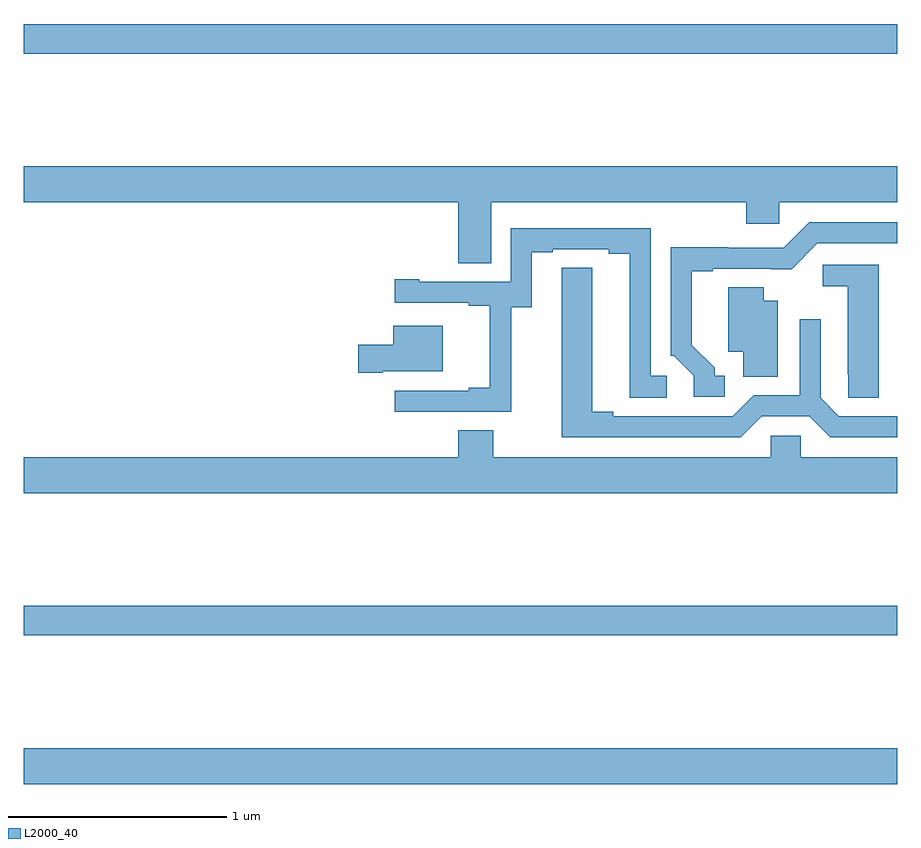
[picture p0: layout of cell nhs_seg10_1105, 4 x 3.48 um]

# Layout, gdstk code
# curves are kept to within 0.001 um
import gdstk
lib = gdstk.Library(unit=1e-6, precision=1e-09)
def R(c, l, rs):  # rectangles x0, y0, x1, y1
    for r in rs: c.add(gdstk.rectangle(r[:2], r[2:], *l))
def P(c, l, *ps):  # polygons
    for p in ps: c.add(gdstk.Polygon(p, *l))
L2000_40 = (2000, 40)

nhs_seg10_1105 = lib.new_cell('nhs_seg10_1105')
R(nhs_seg10_1105, L2000_40, [(167,1310.972,171,1311.136), (167,1311.652,171,1311.788), (167,1314.316,171,1314.452)])
P(nhs_seg10_1105, L2000_40, [(167,1313.636),(168.989,1313.636),(168.989,1313.356),(169.141,1313.356),(169.141,1313.636),(170.309,1313.636),(170.309,1313.538),(170.46,1313.538),(170.46,1313.636),(171,1313.636),(171,1313.8),(167,1313.8)],
  [(170.209,1312.842),(170.164,1312.842),(170.164,1312.877),(170.059,1312.982),(170.059,1313.319),(170.155,1313.319),(170.155,1313.331),(170.516,1313.33),(170.634,1313.448),(171,1313.448),(171,1313.544),(170.598,1313.544),(170.481,1313.427),(170.225,1313.427),(170.225,1313.429),(169.962,1313.429),(169.962,1312.932),(169.977,1312.932),(170.067,1312.842),(170.067,1312.746),(170.209,1312.746)],
  [(169.233,1313.155),(169.327,1313.155),(169.327,1313.406),(169.423,1313.406),(169.423,1313.421),(169.679,1313.421),(169.679,1313.401),(169.775,1313.401),(169.775,1312.741),(169.945,1312.741),(169.945,1312.842),(169.872,1312.842),(169.872,1313.517),(169.23,1313.517),(169.23,1313.271),(168.811,1313.271),(168.811,1313.284),(168.699,1313.284),(168.699,1313.175),(169.037,1313.175),(169.037,1313.163),(169.133,1313.163),(169.133,1312.786),(169.037,1312.786),(169.037,1312.773),(168.699,1312.773),(168.699,1312.677),(169.233,1312.677)],
  [(170.914,1313.349),(170.658,1313.349),(170.658,1313.252),(170.774,1313.252),(170.774,1312.849),(170.775,1312.849),(170.775,1312.741),(170.914,1312.741)],
  [(170.379,1312.656),(170.597,1312.656),(170.693,1312.56),(171,1312.56),(171,1312.656),(170.733,1312.656),(170.649,1312.74),(170.649,1313.101),(170.553,1313.101),(170.553,1312.752),(170.343,1312.752),(170.247,1312.656),(169.699,1312.656),(169.699,1312.676),(169.603,1312.676),(169.603,1313.336),(169.464,1313.336),(169.463,1312.56),(170.283,1312.56)],
  [(170.452,1313.185),(170.389,1313.185),(170.389,1313.246),(170.225,1313.246),(170.225,1312.952),(170.294,1312.952),(170.294,1312.837),(170.452,1312.837)],
  [(168.643,1312.862),(168.919,1312.862),(168.919,1313.071),(168.692,1313.071),(168.692,1312.984),(168.531,1312.984),(168.531,1312.855),(168.643,1312.855)],
  [(171,1312.468),(170.559,1312.468),(170.559,1312.566),(170.421,1312.566),(170.421,1312.468),(169.149,1312.468),(169.149,1312.592),(168.989,1312.592),(168.989,1312.468),(167,1312.468),(167,1312.304),(171,1312.304)])

lib.write_gds('nhs_seg10_1105.gds')
